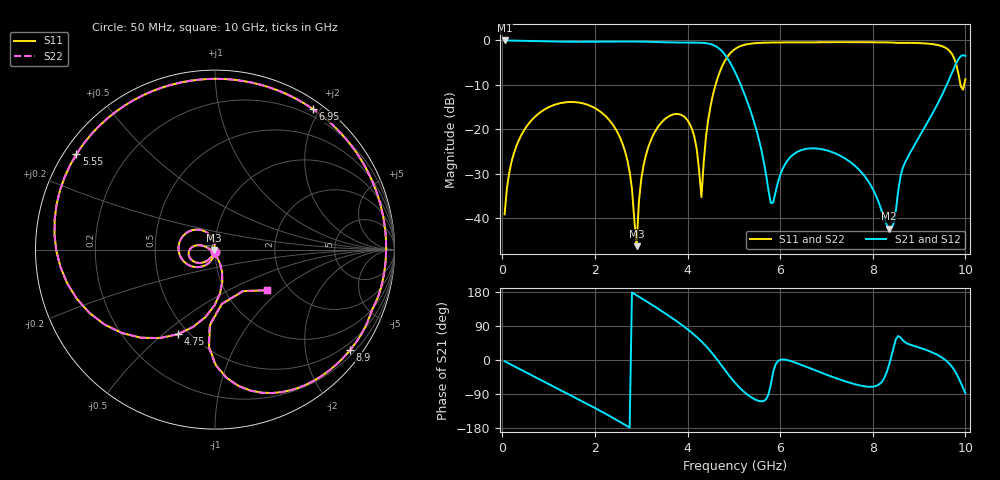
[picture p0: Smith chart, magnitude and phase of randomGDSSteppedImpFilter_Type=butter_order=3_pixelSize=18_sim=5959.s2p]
! freq	dB(S11)	phase(S11)	dB(S12)	phase(S12)
!  dB(S21)	phase(S21)	dB(S22)	phase(S22)
!S-par simulation data
#  GHz  S  DB  R 50
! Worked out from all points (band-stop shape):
!   200 points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, 50 MHz to 10 GHz, reference 50 ohm
!   highest |S21| = -0.01 dB at 50 MHz (marker M1); lowest = -42.3 dB at 8.35 GHz (marker M2)
!   |S21| within 3 dB of the highest: start of sweep to 4.792 GHz
!   lowest |S11| = -46.2 dB at 2.9 GHz (marker M3), VSWR 1.01, Z = 49.5 - j0.18 ohm
!   |S11| at or under -10 dB: start of sweep to 4.604 GHz; 9.895 GHz to 9.973 GHz (77.81 MHz wide, 0.783 % of centre)
!   |S22| runs from -46.6 to -0.4 dB; largest |S21 - S12| = 0
!   S11 on the Smith chart (normalised r, x): 50 MHz: 1.00, -0.02; 4.75 GHz: 0.44, -0.56; 5.55 GHz: 0.04, +0.31; 6.95 GHz: 0.11, +1.90; 8.9 GHz: 0.32, -3.00; 10 GHz: 1.55, -0.82
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0.05  -39.09 -91.7  -0.01 -3.3  -0.01 -3.3  -39.09 -91.7
0.2  -27.26 -102.5  -0.03 -12.8  -0.03 -12.8  -27.26 -102.5
0.55  -18.98 -125.3  -0.11 -35.0  -0.11 -35.0  -18.98 -125.3
1.75  -14.17 159.3  -0.31 -110.4  -0.31 -110.4  -14.17 159.3
2.6  -23.32 104.3  -0.24 -167.5  -0.24 -167.5  -23.33 104.1
2.9  -46.23 -158.1  -0.25 170.8  -0.25 170.8  -46.58 -156.5
3.05  -28.10 -115.6  -0.28 159.6  -0.28 159.6  -28.10 -115.1
3.4  -18.90 -139.1  -0.38 132.5  -0.38 132.5  -18.90 -138.9
4.05  -18.79 169.2  -0.49 76.2  -0.49 76.2  -18.78 169.6
4.3  -35.21 -128.7  -0.53 49.1  -0.53 49.1  -34.85 -128.9
4.45  -17.57 -72.5  -0.71 29.7  -0.71 29.7  -17.56 -72.8
4.75  -5.75 -113.8  -2.49 -17.0  -2.49 -17.0  -5.75 -113.9
5.05  -1.75 -160.4  -7.63 -63.5  -7.63 -63.5  -1.75 -160.4
5.55  -0.56 145.4  -22.62 -108.3  -22.62 -108.3  -0.56 145.4
5.8  -0.48 125.7  -36.57 -63.9  -36.57 -63.9  -0.48 125.7
6.7  -0.41 69.0  -24.24 -24.5  -24.24 -24.5  -0.41 69.0
6.95  -0.41 55.3  -24.56 -36.4  -24.56 -36.4  -0.41 55.3
8.35  -0.46 -12.6  -42.32 -13.4  -42.32 -13.4  -0.46 -12.7
8.9  -0.56 -36.5  -23.52 36.7  -23.52 36.7  -0.56 -36.6
9.6  -1.83 -75.8  -9.91 -3.4  -9.91 -3.4  -1.83 -76.0
9.85  -7.52 -93.8  -4.20 -46.6  -4.20 -46.6  -7.54 -94.1
10  -8.69 -38.1  -3.48 -87.3  -3.48 -87.3  -8.72 -38.1
